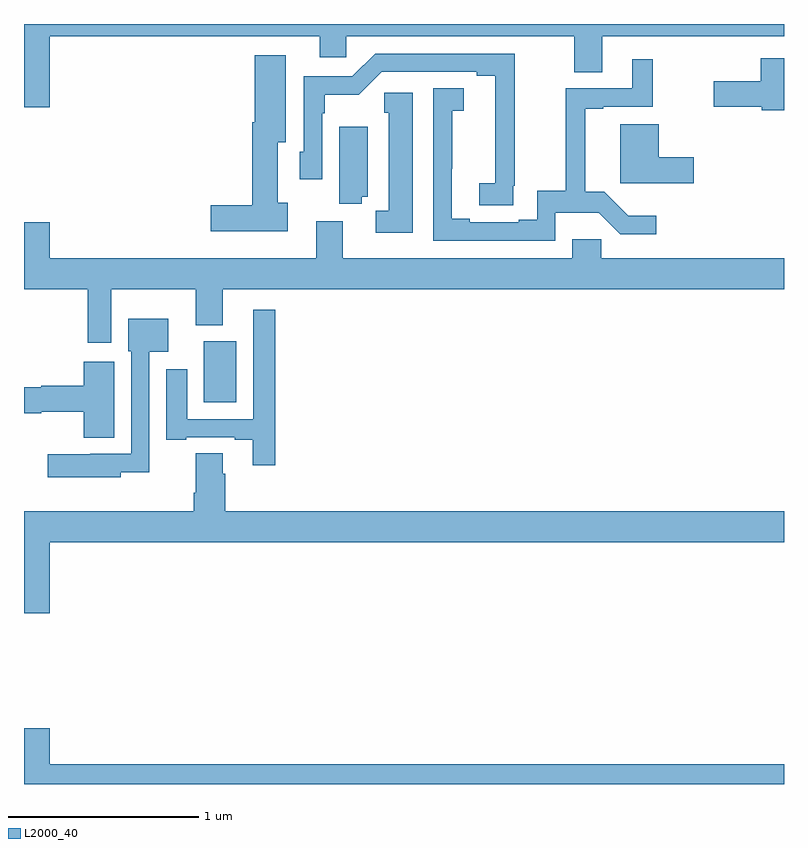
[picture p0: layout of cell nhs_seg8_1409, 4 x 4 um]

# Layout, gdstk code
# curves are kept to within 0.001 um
import gdstk
lib = gdstk.Library(unit=1e-6, precision=1e-09)
def R(c, l, rs):  # rectangles x0, y0, x1, y1
    for r in rs: c.add(gdstk.rectangle(r[:2], r[2:], *l))
def P(c, l, *ps):  # polygons
    for p in ps: c.add(gdstk.Polygon(p, *l))
L2000_40 = (2000, 40)

nhs_seg8_1409 = lib.new_cell('nhs_seg8_1409')
R(nhs_seg8_1409, L2000_40, [(201.947,1111.91,202.117,1112.23)])
P(nhs_seg8_1409, L2000_40, [(201.136,1113.836),(202.556,1113.836),(202.556,1113.726),(202.695,1113.726),(202.695,1113.836),(203.896,1113.836),(203.896,1113.646),(204.043,1113.646),(204.043,1113.836),(205,1113.836),(205,1113.9),(201,1113.9),(201,1113.462),(201.136,1113.462)],
  [(203.576,1113.049),(203.582,1113.049),(203.582,1113.744),(202.848,1113.744),(202.728,1113.624),(202.473,1113.624),(202.473,1113.228),(202.452,1113.228),(202.452,1113.084),(202.569,1113.084),(202.569,1113.431),(202.582,1113.431),(202.582,1113.527),(202.763,1113.527),(202.884,1113.648),(203.384,1113.648),(203.384,1113.628),(203.48,1113.628),(203.479,1113.062),(203.397,1113.062),(203.397,1112.947),(203.576,1112.947)],
  [(202.387,1112.958),(202.336,1112.958),(202.336,1113.278),(202.378,1113.278),(202.378,1113.736),(202.214,1113.736),(202.214,1113.382),(202.202,1113.382),(202.202,1112.945),(201.984,1112.945),(201.984,1112.81),(202.387,1112.81)],
  [(205,1113.721),(204.878,1113.721),(204.878,1113.598),(204.63,1113.598),(204.63,1113.464),(204.882,1113.464),(204.882,1113.446),(205,1113.446)],
  [(203.796,1112.906),(204.025,1112.906),(204.138,1112.793),(204.328,1112.793),(204.328,1112.89),(204.179,1112.89),(204.053,1113.016),(203.954,1113.016),(203.954,1113.453),(204.049,1113.453),(204.049,1113.465),(204.31,1113.465),(204.31,1113.715),(204.2,1113.715),(204.2,1113.561),(203.851,1113.561),(203.851,1113.023),(203.7,1113.023),(203.7,1112.87),(203.603,1112.87),(203.603,1112.856),(203.347,1112.856),(203.347,1112.876),(203.251,1112.876),(203.251,1113.139),(203.253,1113.139),(203.253,1113.443),(203.314,1113.443),(203.314,1113.563),(203.154,1113.563),(203.154,1112.76),(203.796,1112.76)],
  [(203.047,1113.538),(202.897,1113.538),(202.897,1113.432),(202.919,1113.432),(202.919,1112.916),(202.851,1112.916),(202.851,1112.801),(203.047,1112.801)],
  [(204.526,1113.2),(204.34,1113.2),(204.34,1113.373),(204.137,1113.373),(204.137,1113.063),(204.526,1113.063)],
  [(202.778,1112.99),(202.81,1112.99),(202.81,1113.358),(202.658,1113.358),(202.658,1112.953),(202.778,1112.953)],
  [(201.136,1112.857),(201,1112.857),(201,1112.504),(201.335,1112.504),(201.335,1112.223),(201.46,1112.223),(201.46,1112.504),(201.905,1112.504),(201.905,1112.315),(202.045,1112.315),(202.045,1112.504),(205,1112.504),(205,1112.668),(204.037,1112.668),(204.037,1112.766),(203.885,1112.766),(203.885,1112.668),(202.678,1112.668),(202.678,1112.863),(202.538,1112.863),(202.538,1112.668),(201.136,1112.668)],
  [(202.322,1112.395),(202.206,1112.395),(202.206,1111.821),(201.859,1111.821),(201.859,1112.083),(201.749,1112.083),(201.749,1111.713),(201.853,1111.713),(201.853,1111.725),(202.109,1111.725),(202.109,1111.713),(202.205,1111.713),(202.205,1111.578),(202.322,1111.578)],
  [(201.51,1111.541),(201.66,1111.541),(201.66,1112.174),(201.76,1112.174),(201.76,1112.35),(201.548,1112.35),(201.548,1112.178),(201.564,1112.178),(201.564,1111.638),(201.348,1111.638),(201.348,1111.636),(201.126,1111.636),(201.126,1111.514),(201.51,1111.514)],
  [(201.475,1112.122),(201.314,1112.122),(201.314,1111.996),(201.09,1111.996),(201.09,1111.988),(201,1111.988),(201,1111.852),(201.09,1111.852),(201.09,1111.859),(201.314,1111.859),(201.314,1111.723),(201.475,1111.723)],
  [(201.136,1111.172),(205,1111.172),(205,1111.336),(202.058,1111.336),(202.058,1111.532),(202.045,1111.532),(202.045,1111.64),(201.905,1111.64),(201.905,1111.432),(201.893,1111.432),(201.893,1111.336),(201,1111.336),(201,1110.798),(201.136,1110.798)],
  [(205,1110.004),(201.136,1110.004),(201.136,1110.193),(201,1110.193),(201,1109.9),(205,1109.9)])

lib.write_gds('nhs_seg8_1409.gds')
